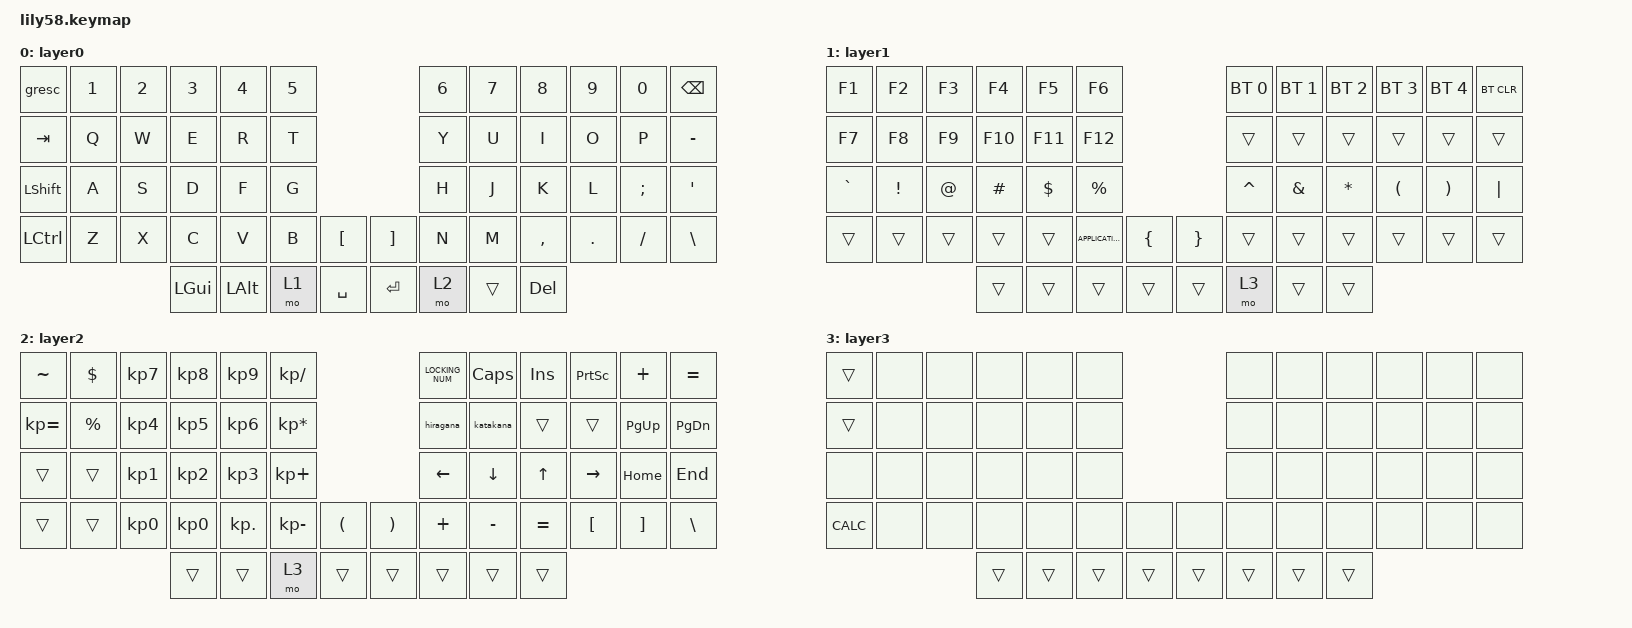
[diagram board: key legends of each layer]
/*
 * Copyright (c) 2020 The ZMK Contributors
 *
 * SPDX-License-Identifier: MIT
 */

#include <behaviors.dtsi>
#include <dt-bindings/zmk/bt.h>
#include <dt-bindings/zmk/keys.h>

/ {
    macros {
        katakana: katakana {
            compatible = "zmk,behavior-macro";
            #binding-cells = <0>;
            bindings = <&kp LA(CAPSLOCK)>;
            label = "KATAKANA";
        };

        hiragana: hiragana {
            compatible = "zmk,behavior-macro";
            #binding-cells = <0>;
            bindings = <&kp LC(CAPSLOCK)>;
            label = "HIRAGANA";
        };

        japanese_switch: japanese_switch {
            compatible = "zmk,behavior-macro";
            #binding-cells = <0>;
            bindings = <&none>;
            label = "JAPANESE_SWITCH";
        };
    };

    keymap {
        compatible = "zmk,keymap";

        layer0 {
            bindings = <
&gresc            &kp N1  &kp N2  &kp N3        &kp N4        &kp N5                                         &kp N6  &kp N7  &kp N8      &kp N9   &kp N0         &kp BACKSPACE
&kp TAB           &kp Q   &kp W   &kp E         &kp R         &kp T                                          &kp Y   &kp U   &kp I       &kp O    &kp P          &kp MINUS
&kp LEFT_SHIFT    &kp A   &kp S   &kp D         &kp F         &kp G                                          &kp H   &kp J   &kp K       &kp L    &kp SEMICOLON  &kp SINGLE_QUOTE
&kp LEFT_CONTROL  &kp Z   &kp X   &kp C         &kp V         &kp B   &kp LEFT_BRACKET    &kp RIGHT_BRACKET  &kp N   &kp M   &kp COMMA   &kp DOT  &kp SLASH      &kp BACKSLASH
                                  &kp LEFT_GUI  &kp LEFT_ALT  &mo 1   &kp SPACE           &kp ENTER          &mo 2   &trans  &kp DELETE
            >;
        };

        layer1 {
            bindings = <
&kp F1     &kp F2    &kp F3  &kp F4    &kp F5      &kp F6                                                &bt BT_SEL 0  &bt BT_SEL 1   &bt BT_SEL 2  &bt BT_SEL 3          &bt BT_SEL 4           &bt BT_CLR
&kp F7     &kp F8    &kp F9  &kp F10   &kp F11     &kp F12                                               &trans        &trans         &trans        &trans                &trans                 &trans
&kp GRAVE  &kp EXCL  &kp AT  &kp HASH  &kp DOLLAR  &kp PERCENT                                           &kp CARET     &kp AMPERSAND  &kp STAR      &kp LEFT_PARENTHESIS  &kp RIGHT_PARENTHESIS  &kp PIPE
&trans     &trans    &trans  &trans    &trans      &kp K_APPLICATION  &kp LEFT_BRACE    &kp RIGHT_BRACE  &trans        &trans         &trans        &trans                &trans                 &trans
                             &trans    &trans      &trans             &trans            &trans           &mo 3         &trans         &trans
            >;
        };

        layer2 {
            bindings = <
&kp TILDE     &kp DOLLAR   &kp KP_N7  &kp KP_N8  &kp KP_N9   &kp KP_SLASH                                                    &kp LOCKING_NUM  &kp CAPSLOCK  &kp INSERT  &kp PRINTSCREEN   &kp PLUS           &kp EQUAL
&kp KP_EQUAL  &kp PERCENT  &kp KP_N4  &kp KP_N5  &kp KP_N6   &kp KP_ASTERISK                                                 &hiragana        &katakana     &trans      &trans            &kp PAGE_UP        &kp PAGE_DOWN
&trans        &trans       &kp KP_N1  &kp KP_N2  &kp KP_N3   &kp KP_PLUS                                                     &kp LEFT         &kp DOWN      &kp UP      &kp RIGHT         &kp HOME           &kp END
&trans        &trans       &kp KP_N0  &kp KP_N0  &kp KP_DOT  &kp KP_MINUS     &kp LEFT_PARENTHESIS    &kp RIGHT_PARENTHESIS  &kp PLUS         &kp MINUS     &kp EQUAL   &kp LEFT_BRACKET  &kp RIGHT_BRACKET  &kp BACKSLASH
                                      &trans     &trans      &mo 3            &trans                  &trans                 &trans           &trans        &trans
            >;
        };

        layer3 {
            bindings = <
&trans      &none  &none  &none   &none   &none                     &none   &none   &none   &none  &none  &none
&trans      &none  &none  &none   &none   &none                     &none   &none   &none   &none  &none  &none
&none       &none  &none  &none   &none   &none                     &none   &none   &none   &none  &none  &none
&kp K_CALC  &none  &none  &none   &none   &none   &none     &none   &none   &none   &none   &none  &none  &none
                          &trans  &trans  &trans  &trans    &trans  &trans  &trans  &trans
            >;
        };
    };
};
